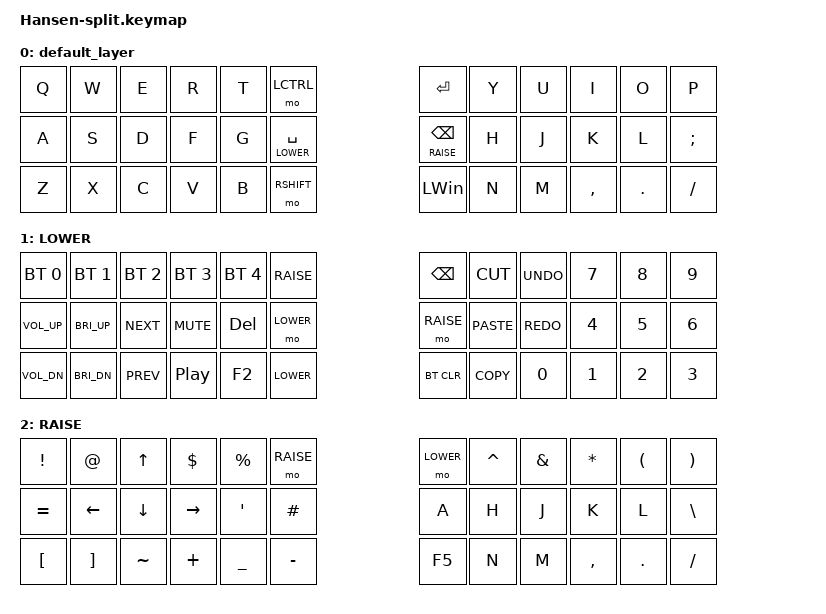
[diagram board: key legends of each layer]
#include <behaviors.dtsi>
#include <dt-bindings/zmk/keys.h>
#include <dt-bindings/zmk/bt.h>

#define DEFAULT 0
#define LOWER   1
#define RAISE   2
/ {
    keymap {
        compatible = "zmk,keymap";

        default_layer {
            bindings = <
    &kp Q    &kp W    &kp E    &kp R     &kp T     &mo LCTRL                   &kp ENTER        &kp Y       &kp U     &kp I     &kp O    &kp P
    &kp A    &kp S    &kp D    &kp F     &kp G     &mt LOWER SPACE             &mt RAISE BSPC   &kp H       &kp J     &kp K     &kp L    &kp SEMI  
    &kp Z    &kp X    &kp C    &kp V     &kp B     &mo RSHIFT                  &kp LWIN         &kp N       &kp M     &kp COMMA &kp DOT  &kp FSLH
            >;
        };
        LOWER {
            bindings = <
    &bt BT_SEL 0  &bt BT_SEL 1   &bt BT_SEL 2  &bt BT_SEL 3     &bt BT_SEL 4 &kp RAISE                &kp BSPC       &kp K_CUT      &kp K_UNDO   &kp N7    &kp N8    &kp N9
    &kp C_VOL_UP  &kp C_BRI_UP   &kp C_NEXT    &kp C_MUTE       &kp DEL      &mo LOWER                  &mo RAISE     &kp K_PASTE    &kp K_REDO   &kp N4    &kp N5    &kp N6  
    &kp C_VOL_DN  &kp C_BRI_DN   &kp C_PREV    &kp C_PLAY_PAUSE &kp F2       &kp LOWER                &bt BT_CLR     &kp K_COPY     &kp N0       &kp N1    &kp N2    &kp N3
            >;
        };
        RAISE {
            bindings = <
    &kp EXCL    &kp AT    &kp UP      &kp DLLR     &kp PRCNT     &mo RAISE                   &mo LOWER         &kp CARET       &kp AMPS     &kp ASTRK     &kp LPAR    &kp RPAR
    &kp EQUAL   &kp LEFT  &kp DOWN    &kp RIGHT    &kp SQT       &kp HASH                      &kp A          &kp H       &kp J     &kp K     &kp L    &kp BSLH  
    &kp LBKT    &kp RBKT  &kp TILDE   &kp PLUS      &kp UNDER     &kp MINUS                    &kp F5      &kp N       &kp M     &kp COMMA &kp DOT  &kp FSLH
            >;
        };
    };
};
